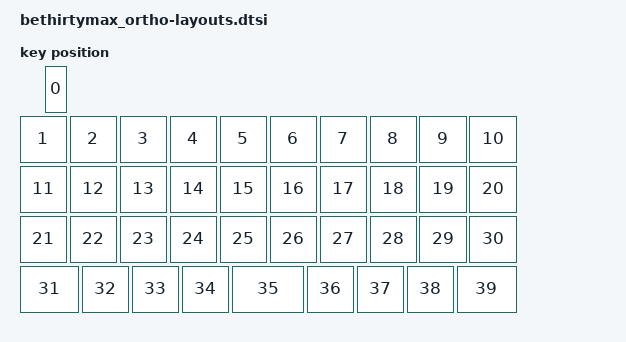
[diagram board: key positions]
#include <physical_layouts.dtsi>

/* Vial の bethirty_ortho のレイアウトに、一番上の小さいキー(EX1)を足したもの。
   行の幅はどれも 10u。順番は default_transform の map と同じ。 */
/ {
    physical_layout0: physical_layout_0 {
        compatible = "zmk,physical-layout";
        display-name = "BeThirtyMax Ortho";
        transform = <&default_transform>;
        kscan = <&kscan0>;
        keys  //                     w   h    x    y     rot    rx    ry
            = <&key_physical_attrs  50 100   50    0       0     0     0>
            , <&key_physical_attrs 100 100    0  100       0     0     0>
            , <&key_physical_attrs 100 100  100  100       0     0     0>
            , <&key_physical_attrs 100 100  200  100       0     0     0>
            , <&key_physical_attrs 100 100  300  100       0     0     0>
            , <&key_physical_attrs 100 100  400  100       0     0     0>
            , <&key_physical_attrs 100 100  500  100       0     0     0>
            , <&key_physical_attrs 100 100  600  100       0     0     0>
            , <&key_physical_attrs 100 100  700  100       0     0     0>
            , <&key_physical_attrs 100 100  800  100       0     0     0>
            , <&key_physical_attrs 100 100  900  100       0     0     0>
            , <&key_physical_attrs 100 100    0  200       0     0     0>
            , <&key_physical_attrs 100 100  100  200       0     0     0>
            , <&key_physical_attrs 100 100  200  200       0     0     0>
            , <&key_physical_attrs 100 100  300  200       0     0     0>
            , <&key_physical_attrs 100 100  400  200       0     0     0>
            , <&key_physical_attrs 100 100  500  200       0     0     0>
            , <&key_physical_attrs 100 100  600  200       0     0     0>
            , <&key_physical_attrs 100 100  700  200       0     0     0>
            , <&key_physical_attrs 100 100  800  200       0     0     0>
            , <&key_physical_attrs 100 100  900  200       0     0     0>
            , <&key_physical_attrs 100 100    0  300       0     0     0>
            , <&key_physical_attrs 100 100  100  300       0     0     0>
            , <&key_physical_attrs 100 100  200  300       0     0     0>
            , <&key_physical_attrs 100 100  300  300       0     0     0>
            , <&key_physical_attrs 100 100  400  300       0     0     0>
            , <&key_physical_attrs 100 100  500  300       0     0     0>
            , <&key_physical_attrs 100 100  600  300       0     0     0>
            , <&key_physical_attrs 100 100  700  300       0     0     0>
            , <&key_physical_attrs 100 100  800  300       0     0     0>
            , <&key_physical_attrs 100 100  900  300       0     0     0>
            , <&key_physical_attrs 125 100    0  400       0     0     0>
            , <&key_physical_attrs 100 100  125  400       0     0     0>
            , <&key_physical_attrs 100 100  225  400       0     0     0>
            , <&key_physical_attrs 100 100  325  400       0     0     0>
            , <&key_physical_attrs 150 100  425  400       0     0     0>
            , <&key_physical_attrs 100 100  575  400       0     0     0>
            , <&key_physical_attrs 100 100  675  400       0     0     0>
            , <&key_physical_attrs 100 100  775  400       0     0     0>
            , <&key_physical_attrs 125 100  875  400       0     0     0>
            ;
    };
};
